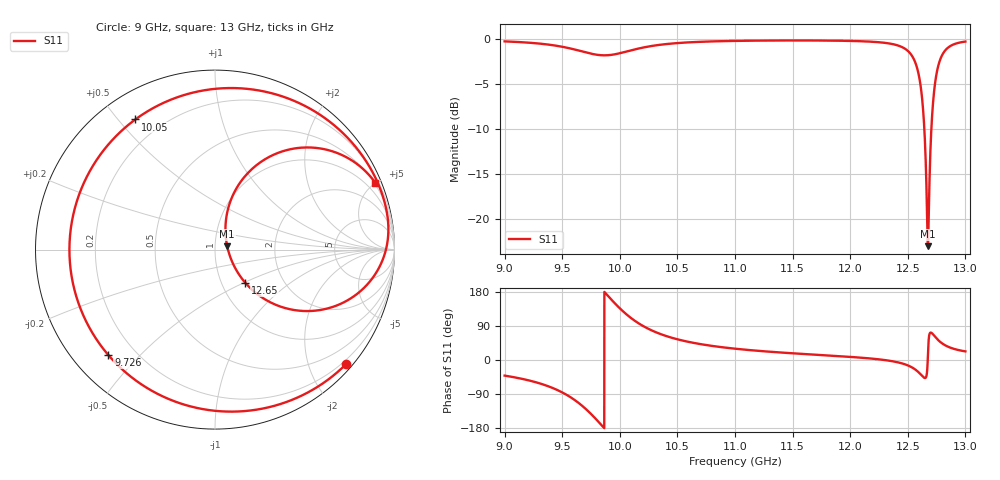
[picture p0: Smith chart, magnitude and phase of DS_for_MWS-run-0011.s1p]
! TOUCHSTONE file generated by CST DESIGN STUDIO
! Date and time: Tue Feb  4 13:42:14 2025
! Project name: C:\Work\MatlabApps\UnitCellOptimizationMatlab\CST\unitcell.cst
! Tree item: Tasks\Sweep1\SPara1\S-Parameters
! Header version: 2024
! Port assignment regex: !\s*Touchstone port\s*([0-9]+)\s*=\s*(CST MWS port|CST DES external port|CST DES block port)\s*(.+)\s* \(\"(.*)\"\)(\s*mode\s*([0-9]+))?.*
! Touchstone port assignment:
! Touchstone port 1 = CST DES external port 1 ("")
# GHz S MA R 50
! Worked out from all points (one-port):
!   4001 points, 9 GHz to 13 GHz, reference 50 ohm
!   lowest |S11| = -23.0 dB at 12.68 GHz (marker M1), VSWR 1.15, Z = 57.2 + j2.24 ohm
!   |S11| at or under -10 dB: 12.6436 GHz to 12.70452 GHz (60.92 MHz wide, 0.481 % of centre)
!   S11 on the Smith chart (normalised r, x): 9 GHz: 0.12, -2.66; 9.726 GHz: 0.10, -0.41; 10.05 GHz: 0.11, +0.56; 12.65 GHz: 1.29, -0.51; 13 GHz: 0.42, +4.94
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9  0.9697 -41.2
9.28  0.9457 -59.5
9.5  0.9053 -85.5
9.622  0.8696 -108.6
9.726  0.8357 -135.3
9.864  0.8111 -179.6
10  0.8333 136.4
10.054  0.8502 121.4
10.22  0.9008 86.7
10.352  0.9289 68.6
10.5  0.9489 54.6
10.716  0.9653 41.1
11  0.9757 29.8
11.5  0.9812 17.7
12  0.9754 8.2
12.344  0.943 -2.1
12.5  0.859 -14.2
12.556  0.7641 -23.2
12.602  0.5992 -34.8
12.631  0.4183 -43.9
12.651  0.2505 -47.6
12.663  0.1404 -40.6
12.675  0.07059 16.0
12.687  0.1499 66.9
12.719  0.4413 67.8
12.762  0.6993 53.1
12.854  0.9 34.4
13  0.9675 22.7
